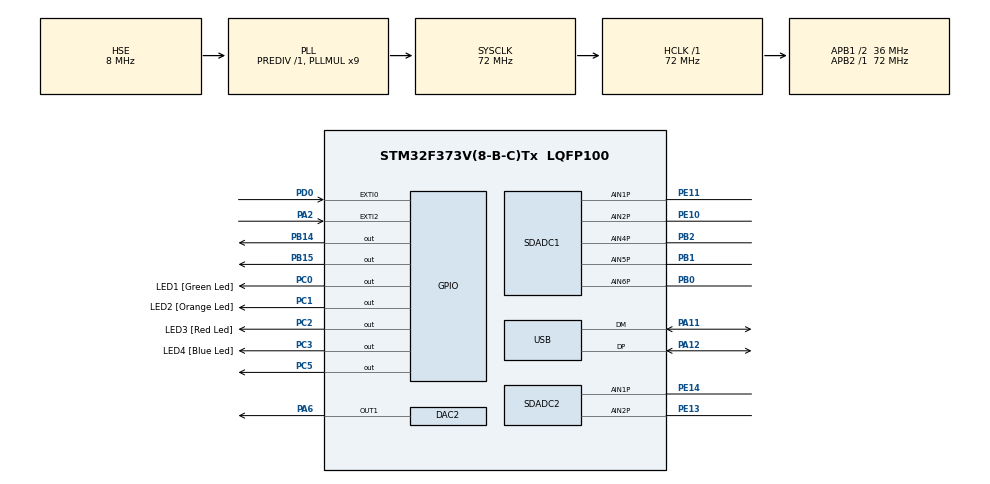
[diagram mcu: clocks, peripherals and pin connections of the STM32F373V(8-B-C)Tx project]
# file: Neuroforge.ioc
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DAC2.DAC_OutputBuffer=DAC_OUTPUTBUFFER_ENABLE
DAC2.DAC_Trigger=DAC_TRIGGER_T6_TRGO
Dma.DAC2_CH1.0.Direction=DMA_MEMORY_TO_PERIPH
Dma.DAC2_CH1.0.Instance=DMA1_Channel5
Dma.DAC2_CH1.0.MemDataAlignment=DMA_MDATAALIGN_HALFWORD
Dma.DAC2_CH1.0.MemInc=DMA_MINC_ENABLE
Dma.DAC2_CH1.0.Mode=DMA_CIRCULAR
Dma.DAC2_CH1.0.PeriphDataAlignment=DMA_PDATAALIGN_HALFWORD
Dma.DAC2_CH1.0.PeriphInc=DMA_PINC_DISABLE
Dma.DAC2_CH1.0.Priority=DMA_PRIORITY_VERY_HIGH
Dma.Request0=DAC2_CH1
Mcu.Family=STM32F3
Mcu.Name=STM32F373V(8-B-C)Tx
Mcu.Package=LQFP100
NVIC.DMA1_Channel5_IRQn=true\:0\:0\:false\:false\:true\:false\:true\:true
NVIC.EXTI0_IRQn=true\:0\:0\:false\:false\:true\:true\:true\:true
NVIC.EXTI2_TSC_IRQn=true\:0\:0\:false\:false\:true\:true\:true\:true
NVIC.PriorityGroup=NVIC_PRIORITYGROUP_0
NVIC.SDADC1_IRQn=true\:0\:0\:false\:false\:true\:true\:true\:true
NVIC.SDADC2_IRQn=true\:0\:0\:false\:false\:true\:true\:true\:true
NVIC.TIM13_IRQn=true\:0\:0\:false\:false\:true\:true\:true\:true
NVIC.TIM17_IRQn=true\:0\:0\:false\:false\:true\:true\:true\:true
NVIC.TIM19_IRQn=true\:0\:0\:false\:false\:true\:true\:true\:true
NVIC.USB_LP_IRQn=true\:0\:0\:false\:false\:true\:false\:true\:true
PA11.Mode=Device
PA11.Signal=USB_DM
PA12.Mode=Device
PA12.Signal=USB_DP
PA13.GPIO_Label=TMS/SWDIO
PA13.Mode=Serial_Wire
PA13.Signal=SYS_JTMS-SWDIO
PA14.GPIO_Label=TMS/SWCLK
PA14.Mode=Serial_Wire
PA14.Signal=SYS_JTCK-SWCLK
PA2.Signal=GPXTI2
PA6.GPIO_Mode=GPIO_MODE_ANALOG
PA6.GPIO_PuPd=GPIO_NOPULL
PA6.Signal=COMP_DAC21_group
PB0.Mode=IN6-Single-Ended
PB0.Signal=SDADC1_AIN6P
PB1.Mode=IN5-Single-Ended
PB1.Signal=SDADC1_AIN5P
PB14.Signal=GPIO_Output
PB15.Signal=GPIO_Output
PB2.Mode=IN4-Single-Ended
PB2.Signal=SDADC1_AIN4P
PC0.GPIO_Label=LED1 [Green Led]
PC0.GPIO_ModeDefaultOutputPP=GPIO_MODE_OUTPUT_OD
PC0.GPIO_PuPd=GPIO_NOPULL
PC0.GPIO_Speed=GPIO_SPEED_FREQ_LOW
PC0.Signal=GPIO_Output
PC1.GPIO_Label=LED2 [Orange Led]
PC1.GPIO_ModeDefaultOutputPP=GPIO_MODE_OUTPUT_OD
PC1.GPIO_PuPd=GPIO_NOPULL
PC1.GPIO_Speed=GPIO_SPEED_FREQ_LOW
PC1.Signal=GPIO_Output
PC2.GPIO_Label=LED3 [Red Led]
PC2.GPIO_ModeDefaultOutputPP=GPIO_MODE_OUTPUT_OD
PC2.GPIO_PuPd=GPIO_NOPULL
PC2.GPIO_Speed=GPIO_SPEED_FREQ_LOW
PC2.Signal=GPIO_Output
PC3.GPIO_Label=LED4 [Blue Led]
PC3.GPIO_ModeDefaultOutputPP=GPIO_MODE_OUTPUT_OD
PC3.GPIO_PuPd=GPIO_NOPULL
PC3.GPIO_Speed=GPIO_SPEED_FREQ_LOW
PC3.Signal=GPIO_Output
PC5.Signal=GPIO_Output
PD0.GPIO_ModeDefaultEXTI=GPIO_MODE_IT_FALLING
PD0.GPIO_PuPd=GPIO_PULLUP
PD0.Signal=GPXTI0
PE10.Mode=IN2-Single-Ended
PE10.Signal=SDADC1_AIN2P
PE11.Mode=IN1-Single-Ended
PE11.Signal=SDADC1_AIN1P
PE13.Mode=IN2-Single-Ended
PE13.Signal=SDADC2_AIN2P
PE14.Mode=IN1-Single-Ended
PE14.Signal=SDADC2_AIN1P
PF0-OSC_IN.GPIO_Label=PF0-OSC_IN
PF0-OSC_IN.Mode=HSE-External-Oscillator
PF0-OSC_IN.Signal=RCC_OSC_IN
PF1-OSC_OUT.GPIO_Label=PF1-OSC_OUT
PF1-OSC_OUT.Mode=HSE-External-Oscillator
PF1-OSC_OUT.Signal=RCC_OSC_OUT
ProjectManager.HeapSize=0x200
ProjectManager.StackSize=0x400
ProjectManager.TargetToolchain=STM32CubeIDE
RCC.AHBFreq_Value=72000000
RCC.APB1CLKDivider=RCC_HCLK_DIV2
RCC.APB1Freq_Value=36000000
RCC.APB1TimFreq_Value=72000000
RCC.APB2Freq_Value=72000000
RCC.APB2TimFreq_Value=72000000
RCC.CortexFreq_Value=72000000
RCC.HCLKFreq_Value=72000000
RCC.HSE_VALUE=8000000
RCC.HSI_VALUE=8000000
RCC.LSE_VALUE=32768
RCC.PLLMUL=RCC_PLL_MUL9
RCC.PRESCALERUSB=RCC_USBCLKSOURCE_PLL_DIV1_5
RCC.SDADCPresc=RCC_SDADCSYSCLK_DIV12
RCC.SYSCLKFreq_VALUE=72000000
RCC.SYSCLKSource=RCC_SYSCLKSOURCE_PLLCLK
RCC.USBFreq_Value=48000000
SDADC1.Channel-0\#ChannelRegularConversion=SDADC_CHANNEL_2
SDADC1.ConfIndex-0\#ChannelRegularConversion=SDADC_CONF_INDEX_0
SDADC1.EnableInjectedConversion=ENABLE
SDADC1.EnableRegularconversion=DISABLE
SDADC1.Gain0=SDADC_GAIN_1_2
SDADC1.InjDelay=Enable
SDADC1.InjNumberOfConversion=4
SDADC1.InjectedChannel-10\#ChannelInjectedConversion=SDADC_CHANNEL_4
SDADC1.InjectedChannel-11\#ChannelInjectedConversion=SDADC_CHANNEL_1
SDADC1.InjectedChannel-12\#ChannelInjectedConversion=SDADC_CHANNEL_6
SDADC1.InjectedChannel-6\#ChannelInjectedConversion=SDADC_CHANNEL_2
SDADC1.InjectedChannelsSelection=SDADC_CHANNEL_2|SDADC_CHANNEL_4|SDADC_CHANNEL_1|SDADC_CHANNEL_6
SDADC1.InjectedConfIndex-10\#ChannelInjectedConversion=SDADC_CONF_INDEX_0
SDADC1.InjectedConfIndex-11\#ChannelInjectedConversion=SDADC_CONF_INDEX_0
SDADC1.InjectedConfIndex-12\#ChannelInjectedConversion=SDADC_CONF_INDEX_0
SDADC1.InjectedConfIndex-6\#ChannelInjectedConversion=SDADC_CONF_INDEX_0
SDADC1.InjectedContinuousMode=SDADC_CONTINUOUS_CONV_ON
SDADC1.InjectedExtTrigger=SDADC_EXT_TRIG_TIM13_CC1
SDADC1.InjectedMultimodeType=__NULL
SDADC1.InjectedRank-10\#ChannelInjectedConversion=2
SDADC1.InjectedRank-11\#ChannelInjectedConversion=3
SDADC1.InjectedRank-12\#ChannelInjectedConversion=4
SDADC1.InjectedRank-6\#ChannelInjectedConversion=1
SDADC1.InjectedTrigger=SDADC_EXTERNAL_TRIGGER
SDADC1.InputMode0=SDADC_INPUT_MODE_SE_OFFSET
SDADC1.NbrOfConversionFlag=1
SDADC2.EnableInjectedConversion=ENABLE
SDADC2.Gain0=SDADC_GAIN_1_2
SDADC2.InjDelay=Enable
SDADC2.InjNumberOfConversion=2
SDADC2.InjectedChannel-10\#ChannelInjectedConversion=SDADC_CHANNEL_2
SDADC2.InjectedChannel-11\#ChannelInjectedConversion=SDADC_CHANNEL_1
SDADC2.InjectedChannelsSelection=SDADC_CHANNEL_2|SDADC_CHANNEL_1
SDADC2.InjectedConfIndex-10\#ChannelInjectedConversion=SDADC_CONF_INDEX_0
SDADC2.InjectedConfIndex-11\#ChannelInjectedConversion=SDADC_CONF_INDEX_0
SDADC2.InjectedExtTrigger=SDADC_EXT_TRIG_TIM17_CC1
SDADC2.InjectedRank-10\#ChannelInjectedConversion=1
SDADC2.InjectedRank-11\#ChannelInjectedConversion=2
SDADC2.InjectedTrigger=SDADC_EXTERNAL_TRIGGER
SDADC2.InputMode0=SDADC_INPUT_MODE_SE_OFFSET
SDADC2.NbrOfConversionFlag=1
SH.COMP_DAC21_group.0=DAC2_OUT1,DAC_OUT1
TIM13.Channel=TIM_CHANNEL_1
TIM13.Period=3999
TIM13.Pulse=2000
TIM17.Channel=TIM_CHANNEL_1
TIM17.Period=3999
TIM17.Pulse=2000
TIM19.Channel-PWM\ Generation2\ No\ Output=TIM_CHANNEL_2
TIM19.Channel-PWM\ Generation3\ No\ Output=TIM_CHANNEL_3
TIM19.Period=3999
TIM19.Pulse-PWM\ Generation2\ No\ Output=2000
TIM19.Pulse-PWM\ Generation3\ No\ Output=2000
TIM19.TIM_MasterOutputTrigger=TIM_TRGO_OC1
TIM6.Period=3999
TIM6.TIM_MasterOutputTrigger=TIM_TRGO_UPDATE
TIM7.Period=65535
TIM7.Prescaler=0
TIM7.TIM_MasterOutputTrigger=TIM_TRGO_UPDATE
USB_DEVICE.CLASS_NAME_FS=CDC
USB_DEVICE.VirtualMode=Cdc
USB_DEVICE.VirtualModeFS=Cdc_FS
VP_SDADC1_CONF0.Mode=ConfigZero
VP_SDADC2_CONF0.Mode=ConfigZero
VP_TIM13_VS_ClockSourceINT.Mode=Enable_Timer
VP_TIM13_VS_no_output1.Mode=PWM Generation1 No Output
VP_TIM17_VS_ClockSourceINT.Mode=Enable_Timer
VP_TIM17_VS_no_output1.Mode=PWM Generation1 No Output
VP_TIM19_VS_no_output2.Mode=PWM Generation2 No Output
VP_TIM19_VS_no_output3.Mode=PWM Generation3 No Output
VP_TIM6_VS_ClockSourceINT.Mode=Enable_Timer
VP_TIM7_VS_ClockSourceINT.Mode=Enable_Timer
VP_USB_DEVICE_VS_USB_DEVICE_CDC_FS.Mode=CDC_FS
board=STM32373C-EVAL

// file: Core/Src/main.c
/* USER CODE BEGIN Header */
/**
  ******************************************************************************
  * @file           : main.c
  * @brief          : Main program body
  ******************************************************************************
  * @attention
  *
  * Copyright (c) 2024 STMicroelectronics.
  * All rights reserved.
  *
  * This software is licensed under terms that can be found in the LICENSE file
  * in the root directory of this software component.
  * If no LICENSE file comes with this software, it is provided AS-IS.
  *
  ******************************************************************************
  */
/* USER CODE END Header */
#include "main.h"
#include "dac.h"
#include "dma.h"
#include "sdadc.h"
#include "tim.h"
#include "usb_device.h"
#include "gpio.h"

/* USER CODE BEGIN Includes */
#include "usb_device.h"
#include "usbd_cdc_if.h"
#include "usbd_core.h"

#include "IIR.h"

/* USER CODE END Includes */

/* USER CODE BEGIN PV */
// # samples per data block(half buffer)
#define DATASIZE 128
// full buffer size
#define BUFFERSIZE DATASIZE * 2
#define CHANNELWIDTH 4

//USB CONSTANTS
#define DATA_POINTS_PER_PACKET 128
#define NUM_BUFFERS_TO_PACK 12
#define LIVE_READ_PACKET_SIZE ((DATA_POINTS_PER_PACKET + 2) * NUM_BUFFERS_TO_PACK)

uint16_t live_read_packet[LIVE_READ_PACKET_SIZE];
uint16_t live_read_packet_2[LIVE_READ_PACKET_SIZE];

uint16_t adc_vals[CHANNELWIDTH][BUFFERSIZE];
uint16_t alpha_vals[CHANNELWIDTH][BUFFERSIZE];
uint16_t beta_vals[CHANNELWIDTH][BUFFERSIZE];
uint16_t gamma_vals[CHANNELWIDTH][BUFFERSIZE];

uint16_t test[BUFFERSIZE];

uint16_t conv_val;

uint8_t ch;
uint8_t usb_start;

uint8_t half_full_usb[CHANNELWIDTH] = {0};
uint8_t full_usb[CHANNELWIDTH] = {0};

uint8_t ctr[CHANNELWIDTH] = {0};
uint8_t conv_ctr[CHANNELWIDTH] = {0};

uint8_t half_flag[CHANNELWIDTH] = {0};

uint8_t data_ready[CHANNELWIDTH] = {0};

__IO uint32_t InjChannel = 0;

static volatile uint16_t* input_buffer_ptr[CHANNELWIDTH] = {&adc_vals[0][0], &adc_vals[1][0], &adc_vals[2][0], &adc_vals[3][0]};

static volatile uint16_t* alpha_buffer_ptr[CHANNELWIDTH] = {&alpha_vals[0][0], &alpha_vals[1][0], &alpha_vals[2][0], &alpha_vals[3][0]};
static volatile uint16_t* beta_buffer_ptr[CHANNELWIDTH] = {&beta_vals[0][0], &beta_vals[1][0], &beta_vals[2][0], &beta_vals[3][0]};
static volatile uint16_t* gamma_buffer_ptr[CHANNELWIDTH] = {&gamma_vals[0][0], &gamma_vals[1][0], &gamma_vals[2][0], &gamma_vals[3][0]};

IIR1 high_8_1[CHANNELWIDTH], high_8_2[CHANNELWIDTH], high_8_3[CHANNELWIDTH];

IIR1 low_12_1[CHANNELWIDTH], low_12_2[CHANNELWIDTH], low_12_3[CHANNELWIDTH];

IIR2 high_12_1[CHANNELWIDTH], high_12_2[CHANNELWIDTH];

IIR2 low_30_1[CHANNELWIDTH], low_30_2[CHANNELWIDTH];

IIR2 high_30_1[CHANNELWIDTH], high_30_2[CHANNELWIDTH];

IIR2 low_100_1[CHANNELWIDTH], low_100_2[CHANNELWIDTH];

// TEMP VARIABLES
int num_packets_per_flag;
int half_repeated = 0;
int full_repeated = 0;
int half_entered = 0;
int full_entered = 0;
int last_half_sent = 0;
int usb_success = 0;
int usb_success_2 = 0;
int usb_busy = 0;
int usb_busy_2 = 0;

/* USER CODE END PV */

void SystemClock_Config(void);

/* USER CODE BEGIN 0 */

void package_point(uint16_t* final_packet_buffer, uint16_t* unpacked_buffer, uint16_t identifier, int final_packet_pointer, int buffer_pointer, int num_points) {
    uint16_t zero = 0;
    final_packet_buffer[final_packet_pointer * (num_points + 2)] = zero;
    final_packet_buffer[final_packet_pointer * (num_points + 2) + 1] = identifier;
    for (int i = 0; i < num_points; i++) {
        final_packet_buffer[final_packet_pointer * (num_points + 2) + 2 + i] = unpacked_buffer[buffer_pointer + i];
    }
//    final_packet_buffer[final_packet_pointer * 3 + 2] = unpacked_buffer[buffer_pointer];

}
void package_several_points_per_buffer(uint16_t* final_packet_buffer, uint16_t** unpacked_buffers, int num_unpacked_buffers, int buffer_pointer, int num_points) {
    for(int i = 0; i < num_unpacked_buffers; i++) {
            package_point(final_packet_buffer, unpacked_buffers[i], (uint16_t) i, i, buffer_pointer, num_points);
    //        track++;
        }
}

void package_point_2(uint16_t* final_packet_buffer, uint16_t* unpacked_buffer, uint16_t identifier, int final_packet_pointer, int buffer_pointer, int num_points) {
    uint16_t zero = 0;
    final_packet_buffer[final_packet_pointer * (num_points + 2)] = zero;
    final_packet_buffer[final_packet_pointer * (num_points + 2) + 1] = identifier;
    for (int i = 0; i < num_points; i++) {
        final_packet_buffer[final_packet_pointer * (num_points + 2) + 2 + i] = unpacked_buffer[buffer_pointer + i + DATASIZE];
    }
//    final_packet_buffer[final_packet_pointer * 3 + 2] = unpacked_buffer[buffer_pointer];

}
void package_several_points_per_buffer_2(
        uint16_t* final_packet_buffer,
        uint16_t** unpacked_buffers,
        int num_unpacked_buffers,
        int buffer_pointer,
        int num_points) {
    for(int i = 0; i < num_unpacked_buffers; i++) {
            package_point_2(final_packet_buffer, unpacked_buffers[i], (uint16_t) i, i, buffer_pointer, num_points);
    //        track++;
        }
}

int aux_retrigger_usb()
{
//    GPIO_InitTypeDef GPIO_InitStructure;
//    USBD_Stop(&hUsbDeviceFS);
    HAL_Delay(100);
//    USBD_DeInit(&hUsbDeviceFS);

//    MX_USB_DEVICE_Init();

//    HAL_GPIO_WritePin(GPIOC, GPIO_PIN_5, GPIO_PIN_RESET);
    HAL_GPIO_WritePin(GPIOC, GPIO_PIN_5, GPIO_PIN_SET);

    // Delay to ensure the host detects the disconnect
    HAL_Delay(500);
    MX_USB_DEVICE_Init();

//    HAL_GPIO_WritePin(GPIOC, GPIO_PIN_5, GPIO_PIN_SET);
    HAL_GPIO_WritePin(GPIOC, GPIO_PIN_5, GPIO_PIN_RESET);

    HAL_Delay(500);  // Small delay for stability

    // Initialize USB Device
//    MX_USB_DEVICE_Init();

    // Start the USB device
//    USBD_Start(&hUsbDeviceFS);
    return 1;
}

void DSP(uint8_t chl, uint8_t flag){

	float in8high;
	float out8high;

//	float in12low;
	float out12low;

	float in12high;
	float out12high;

//	float in30low;
	float out30low;

	float in30high;
	float out30high;

//	float in100low;
	float out100low;

	for(int i = 0; i < DATASIZE; i++){

		in8high = (float) (input_buffer_ptr[chl][i]);
//		in12low = (float) (input_buffer_ptr[chl][i]);
		in12high = (float) (input_buffer_ptr[chl][i]);
//		in30low = (float) (input_buffer_ptr[chl][i]);
		in30high = (float) (input_buffer_ptr[chl][i]);
//		in100low = (float) (input_buffer_ptr[chl][i]);

		out8high = IIR1_Update(&high_8_1[chl], in8high);
		out8high = IIR1_Update(&high_8_2[chl], out8high);
		out8high = IIR1_Update(&high_8_3[chl], out8high);

		out12low = IIR1_Update(&low_12_1[chl], out8high);
		out12low = IIR1_Update(&low_12_2[chl], out12low);
		out12low = IIR1_Update(&low_12_3[chl], out12low) + 20000;

		out12high = IIR2_Update(&high_12_1[chl], in12high);
		out12high = IIR2_Update(&high_12_2[chl], out12high);

		out30low = IIR2_Update(&low_30_1[chl], out12high);
		out30low = IIR2_Update(&low_30_2[chl], out30low) + 20000;

		out30high = IIR2_Update(&high_30_1[chl], in30high);
		out30high = IIR2_Update(&high_30_2[chl], out30high);

		out100low = IIR2_Update(&low_100_1[chl], out30high);
		out100low = IIR2_Update(&low_100_2[chl], out100low) + 20000;

		alpha_buffer_ptr[chl][i] = (uint16_t) (out12low);
		beta_buffer_ptr[chl][i] = (uint16_t) (out30low);
		gamma_buffer_ptr[chl][i] = (uint16_t) (out100low);

//		if(chl == 0){
//			alpha_buffer_ptr[chl][i] = input_buffer_ptr[chl][i];
//			beta_buffer_ptr[chl][i] = 0;
//			gamma_buffer_ptr[chl][i] = 0;
//		}
	}
	data_ready[chl] = 0;
	if(flag == 1){
		half_full_usb[chl] = 1;
	}
	else if (flag == 0){
		full_usb[chl] = 1;
	}

//	half_full_usb[2] = 1;
//	half_full_usb[3] = 1;
//	full_usb[2] = 1;
//	full_usb[3] = 1;
}

void Cycle_Delay(uint16_t cycles_to_wait){
  __disable_irq();

  // Start Timer 7
  HAL_TIM_Base_Start(&htim7);

  while (__HAL_TIM_GET_COUNTER(&htim7) < cycles_to_wait) {
  }

  // Stop Timer 7
  HAL_TIM_Base_Stop(&htim7);
  __HAL_TIM_SET_COUNTER(&htim7, 0);

  // Re-enable interrupts
  __enable_irq();
}

void HAL_SDADC_InjectedConvCpltCallback(SDADC_HandleTypeDef *hsdadc)
{
  conv_val = HAL_SDADC_InjectedGetValue(hsdadc, (uint32_t *) &InjChannel);
  if (hsdadc->Instance == SDADC1){
	  // SDADC1 completed the injected conversion
	  if(InjChannel == 2){
		  ch = 0;
	  }
	  else if(InjChannel == 4){
		  ch = 1;
	  }
	  else if(InjChannel == 1){
		  ch = 2;
	  }
	  else if(InjChannel == 6){
		  ch = 3;
	  }
  }
//  else if (hsdadc->Instance == SDADC2){
//	  // SDADC2 completed the injected conversion
//	  if(InjChannel == 2){
//		  ch = 2;
//	  }
//	  else if(InjChannel == 1){
//		  ch = 3;
//	  }
//  }

  HAL_DAC_SetValue(&hdac2, DAC_CHANNEL_1, DAC_ALIGN_12B_R, gamma_vals[0][conv_ctr[0]]);

  adc_vals[ch][conv_ctr[ch]] = conv_val;

  if((ctr[ch] == DATASIZE - 1)){
	  if(half_flag[ch] == 0){ // first half filled
		  input_buffer_ptr[ch] = &adc_vals[ch][0];

		  alpha_buffer_ptr[ch] = &alpha_vals[ch][0];
		  beta_buffer_ptr[ch] = &beta_vals[ch][0];
		  gamma_buffer_ptr[ch] = &gamma_vals[ch][0];

		  half_flag[ch] = 1;
	  }
	  else if(half_flag[ch] == 1){ //second half filled
		  input_buffer_ptr[ch] = &adc_vals[ch][DATASIZE];

		  alpha_buffer_ptr[ch] = &alpha_vals[ch][DATASIZE];
		  beta_buffer_ptr[ch] = &beta_vals[ch][DATASIZE];
		  gamma_buffer_ptr[ch] = &gamma_vals[ch][DATASIZE];

		  half_flag[ch] = 0;
	  }
	  data_ready[ch] = 1;
  }

  ctr[ch] = (ctr[ch] == DATASIZE - 1) ? 0 : ctr[ch] + 1;
  conv_ctr[ch] = (conv_ctr[ch] == BUFFERSIZE - 1) ? 0 : conv_ctr[ch] + 1;
}

void HAL_GPIO_EXTI_Callback(uint16_t GPIO_Pin)
{
  usb_start = 1;

  __disable_irq();

  // Start Timer 7
  HAL_TIM_Base_Start(&htim7);

  while (__HAL_TIM_GET_COUNTER(&htim7) < 65534) {
  }

  // Stop Timer 7
  HAL_TIM_Base_Stop(&htim7);
  __HAL_TIM_SET_COUNTER(&htim7, 0);

  // Re-enable interrupts
  __enable_irq();
}

/* USER CODE END 0 */

int main(void)
{

  /* MCU Configuration--------------------------------------------------------*/

  /* Reset of all peripherals, Initializes the Flash interface and the Systick. */
  HAL_Init();

  /* Configure the system clock */
  SystemClock_Config();

  __disable_irq();

  /* Initialize all configured peripherals */
  MX_GPIO_Init();
  MX_DMA_Init();
  MX_DAC2_Init();
  MX_SDADC1_Init();
  MX_TIM6_Init();
  MX_TIM13_Init();
  MX_USB_DEVICE_Init();
  MX_TIM17_Init();
  MX_SDADC2_Init();
  MX_TIM7_Init();
  MX_TIM19_Init();
  /* USER CODE BEGIN 2 */
  __enable_irq();
//  aux_retrigger_usb();

  // INIT FILTERS
//  for(int i = 0; i < CHANNELWIDTH; i++){
//	// 8 Hz High
//	IIR1_Init(&high_8_1[i], -0.9980, 0.9990, -0.9990);
//	IIR1_Init(&high_8_2[i], -0.9980, 0.9990, -0.9990);
//	IIR1_Init(&high_8_3[i], -0.9980, 0.9990, -0.9990);
//
//	// 12 Hz low
//	IIR1_Init(&low_12_1[i], -0.9898, 0.0051, 0.0051);
//	IIR1_Init(&low_12_2[i], -0.9837, 0.0082, 0.0082);
//	IIR1_Init(&low_12_3[i], -0.9871, 0.0065, 0.0065);
//
//	// 12 Hz High
//	IIR2_Init(&high_12_1[i], -1.9947, 0.9947, 0.9096, -1.8192, 0.9096);
//	IIR2_Init(&high_12_2[i], -1.9901, 0.9902, 0.9951, -1.9902, 0.9951);
//
//	// 30 Hz low
//	IIR2_Init(&low_30_1[i], -1.9828, 0.9835, 0.5578, -1.1149, 0.5578);
//	IIR2_Init(&low_30_2[i], -1.9770, 0.9777, 0.3128, -0.6249, 0.3128);
//
//	// 30 Hz High
//	IIR2_Init(&high_30_1[i], -1.9744, 0.9748, 0.9429, -1.8857, 0.9429);
//	IIR2_Init(&high_30_2[i], -1.9711, 0.9717, 0.9413, -1.8827, 0.9413);
//
//	// 100 Hz Low
//	IIR2_Init(&low_100_1[i], -1.974264, 0.975777, 0.555675, -1.109922, 0.555675);
//	IIR2_Init(&low_100_2[i], -1.966697, 0.969158, 0.553904, -1.105485, 0.553904);
//
//  }
  for(int i = 0; i < CHANNELWIDTH; i++){ // filters for signals sampled by sdadc2
	// 8 Hz High
	IIR1_Init(&high_8_1[i], -0.995746, 0.997873, -0.997873);
	IIR1_Init(&high_8_2[i], -0.994156, 0.997078, -0.997078);
	IIR1_Init(&high_8_3[i], -0.995039, 0.997519, -0.997519);

	// 12 Hz low
	IIR1_Init(&low_12_1[i], -0.972264, 0.013868, 0.013868);
	IIR1_Init(&low_12_2[i], -0.966278, 0.016861, 0.016861);
	IIR1_Init(&low_12_3[i], -0.969599, 0.015201, 0.015201);

	// 12 Hz High
	IIR2_Init(&high_12_1[i], -1.981415, 0.981780, 0.883059, -1.766082, 0.883059);
	IIR2_Init(&high_12_2[i], -1.977786, 0.978031, 0.988954, -1.977908, 0.988954);

	// 30 Hz low
	IIR2_Init(&low_30_1[i], -1.966084, 0.968630, 0.553764, -1.105124, 0.553764);
	IIR2_Init(&low_30_2[i], -1.956684, 0.959172, 0.310149, -0.618004, 0.310149);

	// 30 Hz High
	IIR2_Init(&high_30_1[i], -1.950197, 0.951961, 0.920969, -1.841937, 0.920969);
	IIR2_Init(&high_30_2[i], -1.944739, 0.947082, 0.897621, -1.795241, 0.897621);

	// 100 Hz Low
	IIR2_Init(&low_100_1[i], -1.938012, 0.945733, 0.547820, -1.088351, 0.547820);
	IIR2_Init(&low_100_2[i], -1.929655, 0.939339, 0.546209, -1.083277, 0.546209);

  }

  HAL_SDADC_CalibrationStart(&hsdadc1, SDADC_CALIBRATION_SEQ_1);
  HAL_SDADC_PollForCalibEvent(&hsdadc1, 10);

  HAL_SDADC_CalibrationStart(&hsdadc2, SDADC_CALIBRATION_SEQ_1);
  HAL_SDADC_PollForCalibEvent(&hsdadc2, 10);

  HAL_TIM_Base_Start(&htim6);
  HAL_TIM_PWM_Start(&htim13, TIM_CHANNEL_1);
  HAL_TIM_PWM_Start(&htim17, TIM_CHANNEL_1);
  HAL_SDADC_InjectedStart_IT(&hsdadc1);
//  HAL_SDADC_InjectedStart_IT(&hsdadc2);
  HAL_DAC_Start(&hdac2, DAC_CHANNEL_1);
  usb_start = 0;
  uint16_t* usb_buffers[] = {
		alpha_vals[0],
		beta_vals[0],
		gamma_vals[0],
		alpha_vals[1],
		beta_vals[1],
		gamma_vals[1],
	    alpha_vals[2],
	    beta_vals[2],
	    gamma_vals[2],
		alpha_vals[3],
		beta_vals[3],
		gamma_vals[3]
	};

//  aux_retrigger_usb();
  /* USER CODE END 2 */

  /* Infinite loop */
  /* USER CODE BEGIN WHILE */
  while (1)
  {
	  if(data_ready[0]){
		  DSP(0, half_flag[0]);
	  }
	  if(data_ready[1]){
		  DSP(1, half_flag[1]);
	  }
	  if(data_ready[2]){
		  DSP(2, half_flag[2]);
	  }
	  if(data_ready[3]){
		  DSP(3, half_flag[3]);
	  }

	  if(usb_start){
//		  if(half_full_usb[0] == 1 && half_full_usb[1] == 1 && half_full_usb[2] == 1 && half_full_usb[3] == 1 && last_half_sent == 2) {
//
//			half_full_usb[0] = 0;
//			half_full_usb[1] = 0;
//			half_full_usb[2] = 0;
//			half_full_usb[3] = 0;
//			int buffer_index_counter = 0;
//			int num_loops = 0;
//
//			for(int i = 0; i < DATASIZE; i += DATA_POINTS_PER_PACKET) {
////			  start_time = HAL_GetTick();
//			  package_several_points_per_buffer(live_read_packet, usb_buffers, NUM_BUFFERS_TO_PACK, buffer_index_counter, DATA_POINTS_PER_PACKET);
//			  buffer_index_counter += DATA_POINTS_PER_PACKET;
//			  CDC_Transmit_FS((uint8_t*)&live_read_packet, sizeof(live_read_packet));
//			  num_loops++;
//			  if (num_loops > num_packets_per_flag) {
//				  num_packets_per_flag = num_loops;
//			  }
//			}
//			last_half_sent = 1;
//		  }
//		  if(full_usb[0] == 1 && full_usb[1] == 1 && full_usb[2] == 1 && full_usb[3] == 1 && last_half_sent == 1) {
//
//			full_usb[0] = 0;
//			full_usb[1] = 0;
//			full_usb[2] = 0;
//			full_usb[3] = 0;
//			int buffer_index_counter = DATASIZE;
//
//			for(int i = 0; i < DATASIZE; i += DATA_POINTS_PER_PACKET) {
//			  package_several_points_per_buffer(live_read_packet_2, usb_buffers, NUM_BUFFERS_TO_PACK, buffer_index_counter, DATA_POINTS_PER_PACKET);
//			  buffer_index_counter += DATA_POINTS_PER_PACKET;
//			  CDC_Transmit_FS((uint8_t*)&live_read_packet_2, sizeof(live_read_packet_2));
//		    }
//			last_half_sent = 2;
//		  }
		  if(half_full_usb[0] == 1 && half_full_usb[1] == 1 && half_full_usb[2] == 1 && half_full_usb[3] == 1) {
			  	  	if (last_half_sent == 1) {
			  	  		half_repeated++;
			  	  	}
			  	  	half_entered++;

		  			half_full_usb[0] = 0;
		  			half_full_usb[1] = 0;
		  			half_full_usb[2] = 0;
		  			half_full_usb[3] = 0;
		  			int buffer_index_counter = 0;
		  			int num_loops = 0;

		  			for(int i = 0; i < DATASIZE; i += DATA_POINTS_PER_PACKET) {
		  //			  start_time = HAL_GetTick();
		  			  package_several_points_per_buffer(live_read_packet, usb_buffers, NUM_BUFFERS_TO_PACK, buffer_index_counter, DATA_POINTS_PER_PACKET);
		  			  buffer_index_counter += DATA_POINTS_PER_PACKET;
		  			  int result = CDC_Transmit_FS((uint8_t*)&live_read_packet, sizeof(live_read_packet));
		  			  if(result == 0) {
		  				  usb_success++;
		  			  } else if(result == 1) {
		  				  usb_busy++;
		  			  }
		  			  num_loops++;
		  			  if (num_loops > num_packets_per_flag) {
		  				  num_packets_per_flag = num_loops;
		  			  }
		  			}
		  			last_half_sent = 1;
		  		  }
		  		  if(full_usb[0] == 1 && full_usb[1] == 1 && full_usb[2] == 1 && full_usb[3] == 1) {
		  			full_entered++;
		  			full_usb[0] = 0;
		  			full_usb[1] = 0;
		  			full_usb[2] = 0;
		  			full_usb[3] = 0;
		  			if (last_half_sent == 2) {
		  				full_repeated++;
		  			}
		  			int buffer_index_counter = DATASIZE;

		  			for(int i = 0; i < DATASIZE; i += DATA_POINTS_PER_PACKET) {
		  			  package_several_points_per_buffer(live_read_packet_2, usb_buffers, NUM_BUFFERS_TO_PACK, buffer_index_counter, DATA_POINTS_PER_PACKET);
		  			  buffer_index_counter += DATA_POINTS_PER_PACKET;
		  			  int result = CDC_Transmit_FS((uint8_t*)&live_read_packet_2, sizeof(live_read_packet_2));
		  			  if(result == 0) {
		  				  usb_success_2++;
					  } else if(result == 1) {
						  usb_busy_2++;
					  }

		  		    }
		  			last_half_sent = 2;
		  		  }
      }

    /* USER CODE END WHILE */

  }
}

void SystemClock_Config(void)
{
  RCC_OscInitTypeDef RCC_OscInitStruct = {0};
  RCC_ClkInitTypeDef RCC_ClkInitStruct = {0};
  RCC_PeriphCLKInitTypeDef PeriphClkInit = {0};

  /** Initializes the RCC Oscillators according to the specified parameters
  * in the RCC_OscInitTypeDef structure.
  */
  RCC_OscInitStruct.OscillatorType = RCC_OSCILLATORTYPE_HSE;
  RCC_OscInitStruct.HSEState = RCC_HSE_ON;
  RCC_OscInitStruct.HSEPredivValue = RCC_HSE_PREDIV_DIV1;
  RCC_OscInitStruct.HSIState = RCC_HSI_ON;
  RCC_OscInitStruct.PLL.PLLState = RCC_PLL_ON;
  RCC_OscInitStruct.PLL.PLLSource = RCC_PLLSOURCE_HSE;
  RCC_OscInitStruct.PLL.PLLMUL = RCC_PLL_MUL9;
  if (HAL_RCC_OscConfig(&RCC_OscInitStruct) != HAL_OK)
  {
    Error_Handler();
  }

  /** Initializes the CPU, AHB and APB buses clocks
  */
  RCC_ClkInitStruct.ClockType = RCC_CLOCKTYPE_HCLK|RCC_CLOCKTYPE_SYSCLK
                              |RCC_CLOCKTYPE_PCLK1|RCC_CLOCKTYPE_PCLK2;
  RCC_ClkInitStruct.SYSCLKSource = RCC_SYSCLKSOURCE_PLLCLK;
  RCC_ClkInitStruct.AHBCLKDivider = RCC_SYSCLK_DIV1;
  RCC_ClkInitStruct.APB1CLKDivider = RCC_HCLK_DIV2;
  RCC_ClkInitStruct.APB2CLKDivider = RCC_HCLK_DIV1;

  if (HAL_RCC_ClockConfig(&RCC_ClkInitStruct, FLASH_LATENCY_2) != HAL_OK)
  {
    Error_Handler();
  }
  PeriphClkInit.PeriphClockSelection = RCC_PERIPHCLK_USB|RCC_PERIPHCLK_SDADC;
  PeriphClkInit.USBClockSelection = RCC_USBCLKSOURCE_PLL_DIV1_5;
  PeriphClkInit.SdadcClockSelection = RCC_SDADCSYSCLK_DIV12;
  if (HAL_RCCEx_PeriphCLKConfig(&PeriphClkInit) != HAL_OK)
  {
    Error_Handler();
  }
  HAL_PWREx_EnableSDADC(PWR_SDADC_ANALOG1);
  HAL_PWREx_EnableSDADC(PWR_SDADC_ANALOG2);
}

void Error_Handler(void)
{
  __disable_irq();
  while (1)
  {
  }
}
